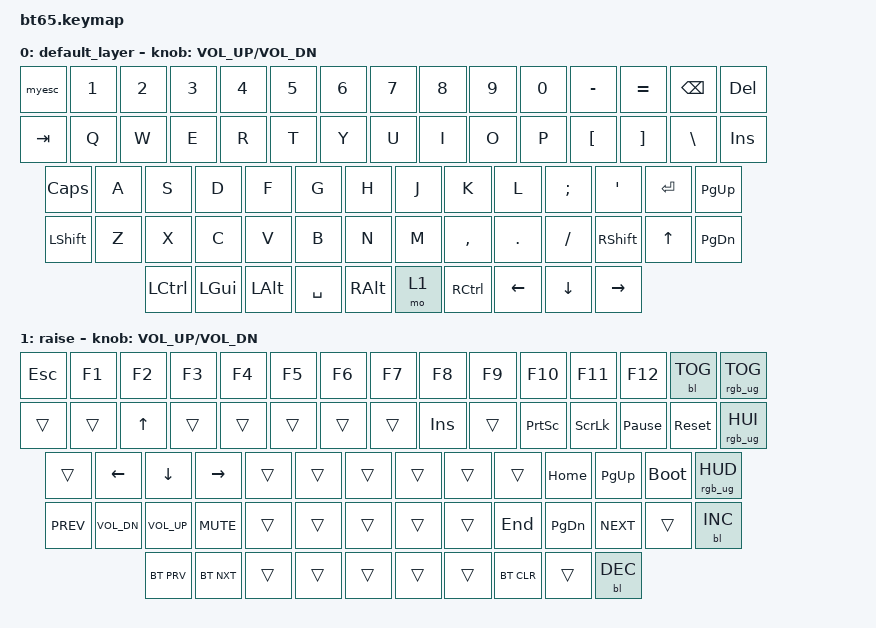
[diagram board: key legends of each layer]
#include <behaviors.dtsi>
#include <dt-bindings/zmk/keys.h>
#include <dt-bindings/zmk/bt.h>
#include <dt-bindings/zmk/rgb.h>
#include <dt-bindings/zmk/backlight.h>
#include <dt-bindings/zmk/ext_power.h>

/ {
  behaviors {
    /* Esc alone = Escape, Shift+Esc = tilde, Alt or Cmd+Esc = grave */
    myesc: my_esc {
      compatible = "zmk,behavior-mod-morph";
      #binding-cells = <0>;
      bindings = <&kp ESC>, <&kp GRAVE>;
      mods = <(MOD_LALT|MOD_RALT|MOD_LSFT|MOD_RSFT|MOD_LGUI|MOD_RGUI)>;
      keep-mods = <(MOD_LSFT|MOD_RSFT)>;
    };
  };

  keymap {
    compatible = "zmk,keymap";

    default_layer {
      bindings = <
        &myesc &kp N1 &kp N2 &kp N3 &kp N4 &kp N5 &kp N6 &kp N7 &kp N8 &kp N9 &kp N0 &kp MINUS &kp EQUAL &kp BKSP &kp DEL
        &kp TAB &kp Q &kp W &kp E &kp R &kp T &kp Y &kp U &kp I &kp O &kp P &kp LBKT &kp RBKT &kp BSLH &kp INS
        &kp CLCK &kp A &kp S &kp D &kp F &kp G &kp H &kp J &kp K &kp L &kp SEMI &kp SQT &kp RET &kp PG_UP
        &kp LSHFT &kp Z &kp X &kp C &kp V &kp B &kp N &kp M &kp COMMA &kp DOT &kp FSLH &kp RSHFT &kp UP &kp PG_DN
        &kp LCTRL &kp LGUI &kp LALT &kp SPACE &kp RALT &mo 1 &kp RCTRL &kp LEFT &kp DOWN &kp RIGHT
      >;
      sensor-bindings = <&inc_dec_kp C_VOL_UP C_VOL_DN>;
    };

    raise {
      bindings = <
        &kp ESC &kp F1 &kp F2 &kp F3 &kp F4 &kp F5 &kp F6 &kp F7 &kp F8 &kp F9 &kp F10 &kp F11 &kp F12 &bl BL_TOG &rgb_ug RGB_TOG
        &trans &trans &kp UP &trans &trans &trans &trans &trans &kp INS &trans &kp PSCRN &kp SLCK &kp PAUSE_BREAK &sys_reset &rgb_ug RGB_HUI
        &trans &kp LEFT &kp DOWN &kp RIGHT &trans &trans &trans &trans &trans &trans &kp HOME &kp PG_UP &bootloader &rgb_ug RGB_HUD
        &kp C_PREV &kp C_VOL_DN &kp C_VOL_UP &kp C_MUTE &trans &trans &trans &trans &trans &kp END &kp PG_DN &kp C_NEXT &trans &bl BL_INC
        &bt BT_PRV &bt BT_NXT &trans &trans &trans &trans &trans &bt BT_CLR &trans &bl BL_DEC
      >;
      sensor-bindings = <&inc_dec_kp C_VOL_UP C_VOL_DN>;
    };
  };
};
